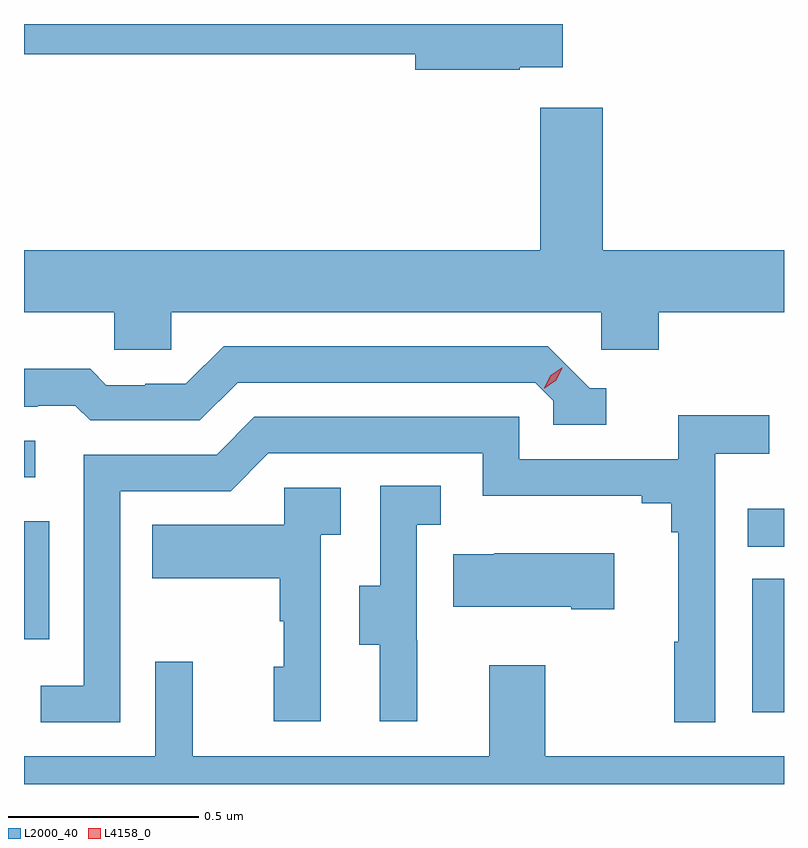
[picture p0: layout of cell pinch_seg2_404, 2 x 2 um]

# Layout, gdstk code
import gdstk
lib = gdstk.Library(unit=1e-6, precision=1e-09)
def R(c, l, rs):  # rectangles x0, y0, x1, y1
    for r in rs: c.add(gdstk.rectangle(r[:2], r[2:], *l))
def P(c, l, *ps):  # polygons
    for p in ps: c.add(gdstk.Polygon(p, *l))
L2000_40 = (2000, 40)
L4158_0 = (4158, 0)

pinch_seg2_404 = lib.new_cell('pinch_seg2_404')
R(pinch_seg2_404, L2000_40, [(980.75,622.608,980.833,622.959), (978.833,622.8,978.9,623.11), (980.737,623.044,980.833,623.143), (978.833,623.226,978.862,623.322)])
P(pinch_seg2_404, L2000_40, [(980.138,624.305),(980.251,624.305),(980.251,624.419),(978.833,624.419),(978.833,624.34),(979.862,624.34),(979.862,624.298),(980.138,624.298)],
  [(979.221,623.66),(980.352,623.66),(980.352,623.562),(980.504,623.562),(980.504,623.66),(980.833,623.66),(980.833,623.824),(980.356,623.824),(980.356,624.199),(980.192,624.199),(980.192,623.824),(978.833,623.824),(978.833,623.66),(979.071,623.66),(979.071,623.562),(979.221,623.562)],
  [(980.365,623.46),(980.322,623.46),(980.211,623.571),(979.358,623.571),(979.259,623.472),(979.152,623.472),(979.152,623.469),(979.049,623.469),(979.007,623.512),(978.833,623.512),(978.833,623.412),(978.869,623.412),(978.869,623.415),(978.968,623.415),(979.007,623.376),(979.296,623.376),(979.395,623.475),(980.178,623.475),(980.226,623.427),(980.226,623.364),(980.365,623.364)],
  [(979.086,623.19),(979.377,623.19),(979.476,623.289),(980.04,623.289),(980.04,623.177),(980.459,623.177),(980.459,623.158),(980.536,623.158),(980.536,623.081),(980.555,623.081),(980.555,622.793),(980.544,622.793),(980.544,622.581),(980.652,622.581),(980.652,623.288),(980.794,623.288),(980.794,623.39),(980.555,623.39),(980.555,623.274),(980.136,623.274),(980.136,623.385),(979.439,623.385),(979.34,623.286),(978.99,623.286),(978.99,622.677),(978.877,622.677),(978.877,622.581),(979.086,622.581)],
  [(979.868,622.797),(979.866,622.797),(979.866,623.101),(979.93,623.101),(979.93,623.204),(979.77,623.204),(979.77,622.941),(979.715,622.941),(979.715,622.786),(979.769,622.786),(979.769,622.584),(979.868,622.584)],
  [(979.614,623.075),(979.666,623.075),(979.666,623.199),(979.518,623.199),(979.518,623.101),(979.171,623.101),(979.171,622.961),(979.506,622.961),(979.506,622.847),(979.516,622.847),(979.516,622.728),(979.49,622.728),(979.49,622.584),(979.614,622.584)],
  [(980.386,623.026),(980.071,623.026),(980.071,623.023),(979.963,623.023),(979.963,622.886),(980.273,622.886),(980.273,622.879),(980.386,622.879)],
  [(980.833,622.492),(980.205,622.492),(980.205,622.732),(980.057,622.732),(980.057,622.492),(979.277,622.492),(979.277,622.741),(979.179,622.741),(979.179,622.492),(978.833,622.492),(978.833,622.419),(980.833,622.419)])
P(pinch_seg2_404, L4158_0, [(980.202,623.461),(980.202,623.461),(980.218,623.494),(980.248,623.514),(980.249,623.514),(980.249,623.513),(980.233,623.481),(980.203,623.461)])

lib.write_gds('pinch_seg2_404.gds')
